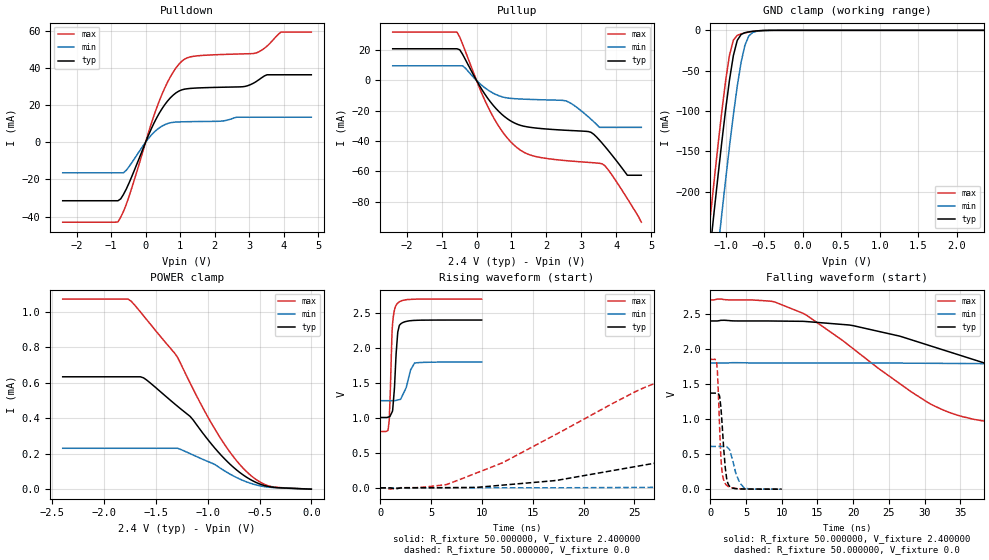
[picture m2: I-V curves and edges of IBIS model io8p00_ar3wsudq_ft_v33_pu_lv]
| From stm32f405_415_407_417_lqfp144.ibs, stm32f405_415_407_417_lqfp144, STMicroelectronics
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|   Model io8p00_ar3wsudq_ft_v33_pu_lv
[Model]  io8p00_ar3wsudq_ft_v33_pu_lv
Model_type I/O
Polarity   Non-Inverting
Enable   Active-Low
Vinl =   0.720000V
Vinh =   1.680000V
Vmeas =  1.200000V
Cref =   50.000000pF
Rref =   100.000000M
Vref =   0.0V
C_comp   3.737300pF   3.690400pF   3.817400pF
[Temperature Range]   25.000000   0.125000k   -40.000000
[Pullup Reference]   2.400000V   1.800000V   2.700000V
[Pulldown Reference]   0.0V   0.0V   0.0V
[POWER Clamp Reference]   2.400000V   1.800000V   2.700000V
[GND Clamp Reference]   0.0V   0.0V   0.0V
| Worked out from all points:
|   slope of the pulldown table from 0 to 0.36 V, typ, clamps not added: 25 ohm
|   slope of the pullup table from 0 to 0.36 V, typ, clamps not added: 27.7 ohm
|   GND clamp passes 1 mA (typ) near -0.62 V on its own axis
|   rising waveform, R_fixture 50.000000, V_fixture 2.400000: 20-80 % time 349ps typ, 697ps min, 262ps max; typ from 1.01 V to 2.4 V
|   rising waveform, R_fixture 50.000000, V_fixture 0.0: 20-80 % time 31ns typ, 81.8ns min, 14.6ns max; typ from 0.001 V to 1.37 V
|   falling waveform, R_fixture 50.000000, V_fixture 2.400000: 20-80 % time 28.8ns typ, 81.6ns min, 15.7ns max; typ from 2.4 V to 1.01 V
|   falling waveform, R_fixture 50.000000, V_fixture 0.0: 20-80 % time 599ps typ, 1.08ns min, 460ps max; typ from 1.37 V to 0.001 V
[Pulldown]
|Voltage   I(typ)   I(min)   I(max)
-2.4V     -31.47mA   -16.45mA   -43.01mA
-800mV    -31.47mA   -16.45mA   -42.85mA
-480mV    -21.98mA   -13.17mA   -29.21mA
80mV      3.63mA     1.966mA    5.014mA
480mV     18.16mA    8.738mA    26.02mA
800mV     25.38mA    10.72mA    37.77mA
1.12V     28.53mA    11.02mA    44.6mA
2.8V      29.84mA    13.47mA    47.53mA
3.2V      32.6mA     13.47mA    48.03mA
3.52V     36.3mA     13.47mA    51.75mA
3.92V     36.3mA     13.47mA    59.27mA
4.8V      36.3mA     13.47mA    59.27mA
[Pullup]
|Voltage   I(typ)   I(min)   I(max)
-2.4V     20.87mA    9.66mA     31.87mA
-560mV    20.87mA    9.66mA     31.87mA
-400mV    17.27mA    9.66mA     24.06mA
320mV     -11.75mA   -6.207mA   -17.08mA
640mV     -20.52mA   -10.1mA    -30.35mA
960mV     -26.47mA   -11.82mA   -40.02mA
1.52V     -30.88mA   -12.51mA   -49.05mA
2.56V     -32.88mA   -13.52mA   -52.9mA
3.28V     -34.25mA   -25.61mA   -54.17mA
3.6V      -41.44mA   -30.97mA   -55.02mA
4.32V     -62.54mA   -30.97mA   -77.98mA
4.72V     -62.54mA   -30.97mA   -93.5mA
[GND_clamp]
|Voltage   I(typ)   I(min)   I(max)
-2.4V     -1.437A    -1.518A    -1.411A
-1.25V    -315.9mA   -407.2mA   -278.2mA
-1.2V     -270.1mA   -361.3mA   -232.1mA
-1.15V    -225mA     -316mA     -186.8mA
-1.1V     -180.9mA   -271.3mA   -142.7mA
-1.05V    -138.2mA   -227.5mA   -100.5mA
-950mV    -61.14mA   -143.6mA   -30.43mA
-900mV    -31.23mA   -104.7mA   -12.14mA
-850mV    -12.49mA   -69.4mA    -6.221mA
-750mV    -2.898mA   -18.35mA   -3.18mA
-600mV    -750.2uA   -1.218mA   -738.3uA
2.35V     0A         0A         0A
[POWER_clamp]
|Voltage   I(typ)   I(min)   I(max)
-2.4V     634.4uA    230.9uA    1.073mA
-1.77V    634.4uA    230.9uA    1.073mA
-1.74V    634.4uA    230.9uA    1.062mA
-1.62V    628.7uA    230.9uA    979.3uA
-1.29V    467.4uA    230.9uA    743.1uA
-1.17V    410.9uA    200.6uA    599.2uA
-930mV    230.8uA    139uA      338.2uA
-780mV    138.4uA    83.46uA    204.6uA
-660mV    81.05uA    49.28uA    119.5uA
-540mV    39.7uA     25.07uA    57.27uA
-420mV    15.59uA    11.9uA     19.92uA
0V        0A         0A         0A
[Ramp]
| variable   typ   min   max
dV/dt_r  0.82201/30.92570n   0.36327/83.87425n   1.11083/14.60680n
dV/dt_f  0.83622/28.87659n   0.32652/81.83571n   1.13655/15.69998n
R_load = 50.000000
[Rising Waveform]
R_fixture= 50.000000
V_fixture= 2.400000
V_fixture_min= 1.800000
V_fixture_max= 2.700000
|time   V(typ)   V(min)   V(max)
0s        1.007V     1.247V     805.7mV
780.8ps   1.012V     1.247V     841.9mV
880.9ps   1.016V     1.247V     968.3mV
1.181ns   1.091V     1.247V     2.287V
1.381ns   1.402V     1.247V     2.533V
1.642ns   2.077V     1.254V     2.631V
1.722ns   2.228V     1.257V     2.642V
1.882ns   2.325V     1.262V     2.66V
3.383ns   2.395V     1.787V     2.698V
9.97ns    2.4V       1.8V       2.7V
[Rising Waveform]
R_fixture= 50.000000
V_fixture= 0.0
V_fixture_min= 0.0
V_fixture_max= 0.0
|time   V(typ)   V(min)   V(max)
0s        880.4uV    840.3uV    911.2uV
7.007ns   4.47mV     1.89mV     73.8mV
17.02ns   102.2mV    2.038mV    744.7mV
28.03ns   379.3mV    8.496mV    1.545V
34.53ns   558.8mV    15.84mV    1.716V
42.54ns   789.7mV    42.96mV    1.792V
59.56ns   1.173V     100.6mV    1.839V
79.58ns   1.316V     194.5mV    1.848V
153.2ns   1.369V     511.4mV    1.852V
249.2ns   1.371V     610.3mV    1.852V
[Falling Waveform]
R_fixture= 50.000000
V_fixture= 2.400000
V_fixture_min= 1.800000
V_fixture_max= 2.700000
|time   V(typ)   V(min)   V(max)
0s        2.4V       1.8V       2.7V
8.509ns   2.399V     1.8V       2.682V
13.01ns   2.395V     1.8V       2.508V
20.02ns   2.332V     1.8V       2.003V
31.03ns   2.038V     1.796V     1.204V
43.54ns   1.628V     1.776V     914.4mV
60.06ns   1.241V     1.72V      849.1mV
84.08ns   1.084V     1.587V     820.8mV
157.2ns   1.016V     1.326V     805.6mV
249.2ns   1.007V     1.247V     805.7mV
[Falling Waveform]
R_fixture= 50.000000
V_fixture= 0.0
V_fixture_min= 0.0
V_fixture_max= 0.0
|time   V(typ)   V(min)   V(max)
0s        1.371V     610.3mV    1.852V
900.9ps   1.372V     610.1mV    1.797V
1.101ns   1.368V     610mV      1.45V
1.502ns   1.152V     609.7mV    431.2mV
1.702ns   858.3mV    609.9mV    213.2mV
2.062ns   351.2mV    609.6mV    86.32mV
2.683ns   44.51mV    567.8mV    32.29mV
3.584ns   8.699mV    225.6mV    11.4mV
4.785ns   3.064mV    15.43mV    3.973mV
9.97ns    880.4uV    840.3uV    911.2uV
